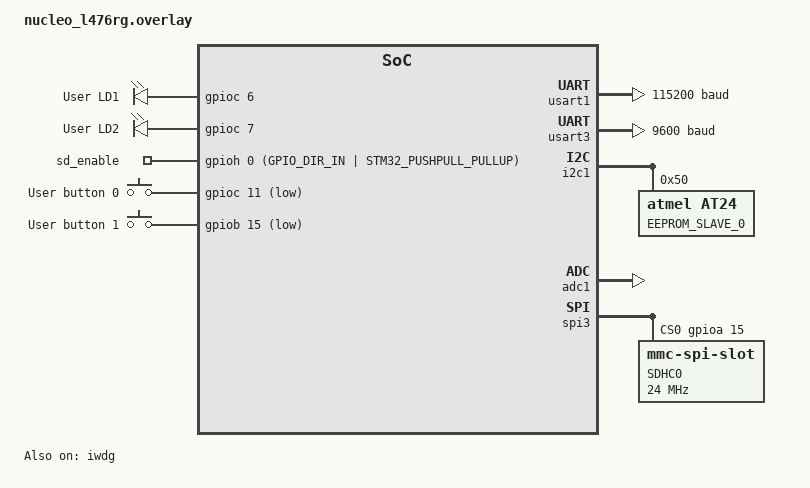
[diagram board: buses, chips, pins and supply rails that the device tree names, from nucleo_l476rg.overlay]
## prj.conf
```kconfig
# disable assertion in production

CONFIG_LORA=y
CONFIG_LORA_IM881A=y
CONFIG_UART_INTERRUPT_DRIVEN=y

CONFIG_SHELL=y
CONFIG_SHELL_LOG_BACKEND=y
CONFIG_KERNEL_SHELL=y
CONFIG_DEVICE_SHELL=y
CONFIG_SHELL_BACKEND_SERIAL=y
CONFIG_OBJECT_TRACING=y
CONFIG_THREAD_MONITOR=y
CONFIG_INIT_STACKS=y
CONFIG_BOOT_BANNER=y
CONFIG_PERFORMANCE_METRICS=y
CONFIG_BOOT_TIME_MEASUREMENT=y
CONFIG_THREAD_NAME=y
CONFIG_LOG=y
CONFIG_LOG_DEFAULT_LEVEL=3
CONFIG_SHELL_HISTORY=y
CONFIG_SHELL_STACK_SIZE=1024
CONFIG_SHELL_CMD_BUFF_SIZE=128
CONFIG_SHELL_WILDCARD=n
CONFIG_SHELL_VT100_COLORS=y
CONFIG_SHELL_HELP_ON_WRONG_ARGUMENT_COUNT=y
CONFIG_SHELL_STATS=y
CONFIG_SHELL_CMDS=y
#CONFIG_SYS_POWER_LOW_POWER_STATE=y
#CONFIG_SYS_POWER_DEEP_SLEEP=y
CONFIG_DEVICE_POWER_MANAGEMENT=y
CONFIG_SYS_POWER_MANAGEMENT=y
#CONFIG_SYS_POWER_LOW_POWER_STATES=y
CONFIG_TICKLESS_IDLE=y
CONFIG_TICKLESS_IDLE_THRESH=1
CONFIG_COUNTER=y
CONFIG_STACK_SENTINEL=y
```

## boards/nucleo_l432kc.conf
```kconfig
CONFIG_POLL=y
CONFIG_SPI=y

CONFIG_OPENOCD_SUPPORT=y

CONFIG_SERIAL=y
CONFIG_UART_STM32=y
CONFIG_UART_1=y

CONFIG_LORA_IM881A_UART_DRV_NAME="UART_1"

CONFIG_PWM=n
CONFIG_CLOCK_STM32_SYSCLK_SRC_MSI=y
CONFIG_CLOCK_STM32_MSI_RANGE=7
CONFIG_CLOCK_STM32_SYSCLK_SRC_PLL=n
CONFIG_CLOCK_STM32_PLL_SRC_HSI=n
#CONFIG_CLOCK_STM32_PLL_M_DIVISOR=n
CONFIG_SYS_CLOCK_HW_CYCLES_PER_SEC=8000000
#CONFIG_SYS_POWER_LOW_POWER_STATES=y
CONFIG_SYS_POWER_DEEP_SLEEP_STATES=y
CONFIG_SYS_POWER_MANAGEMENT=y
#CONFIG_COUNTER_RTC_STM32_CLOCK_LSE=y
```

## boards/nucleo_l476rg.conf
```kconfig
CONFIG_POLL=y

CONFIG_OPENOCD_SUPPORT=y

CONFIG_SERIAL=y
CONFIG_UART_STM32=y
CONFIG_UART_1=y
CONFIG_UART_2=y
CONFIG_UART_3=y
CONFIG_LORA_IM881A_UART_DRV_NAME="UART_1"

CONFIG_I2C=y
CONFIG_I2C_GPIO=y
CONFIG_I2C_0=y
CONFIG_I2C_GPIO_0=y
CONFIG_I2C_GPIO_0_GPIO="GPIOB"
CONFIG_I2C_GPIO_0_SCL_PIN=6
CONFIG_I2C_GPIO_0_SDA_PIN=7

CONFIG_ADC=y
CONFIG_ADC_STM32=y
CONFIG_WDT_LOG_LEVEL_DBG=y
CONFIG_WATCHDOG=y

CONFIG_PWM=n
CONFIG_CLOCK_STM32_SYSCLK_SRC_MSI=y
CONFIG_CLOCK_STM32_MSI_RANGE=8
CONFIG_CLOCK_STM32_SYSCLK_SRC_PLL=n
CONFIG_CLOCK_STM32_PLL_SRC_HSI=n
#CONFIG_CLOCK_STM32_PLL_M_DIVISOR=n
CONFIG_SYS_CLOCK_HW_CYCLES_PER_SEC=16000000
#CONFIG_SYS_POWER_LOW_POWER_STATES=y
CONFIG_SYS_POWER_DEEP_SLEEP_STATES=y
CONFIG_SYS_POWER_MANAGEMENT=n
#CONFIG_COUNTER_RTC_STM32_CLOCK_LSE=y

CONFIG_ISR_STACK_SIZE=4096
CONFIG_PRIVILEGED_STACK_SIZE=2048
CONFIG_MAIN_STACK_SIZE=2048
CONFIG_IDLE_STACK_SIZE=2048
CONFIG_SYSTEM_WORKQUEUE_STACK_SIZE=2048
CONFIG_OFFLOAD_WORKQUEUE_STACK_SIZE=2048
CONFIG_LOG_PROCESS_THREAD_STACK_SIZE=2048
CONFIG_SHELL_STACK_SIZE=2048

CONFIG_DISK_ACCESS=y
CONFIG_DISK_ACCESS_SDHC=y
#CONFIG_DISK_LOG_LEVEL_DBG=y
CONFIG_SPI=y
CONFIG_SPI_3=y
CONFIG_DISK_SDHC_VOLUME_NAME="SD"
CONFIG_FILE_SYSTEM=y
CONFIG_FAT_FILESYSTEM_ELM=y
#CONFIG_SPI_LOG_LEVEL_DBG=y
CONFIG_LOG_STRDUP_BUF_COUNT=20
```

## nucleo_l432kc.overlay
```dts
/*
 * Copyright (c) 2018 Nordic Semiconductor ASA
 *
 * SPDX-License-Identifier: Apache-2.0
 */

 &usart1 {
 	current-speed = <115200>;
 	pinctrl-0 = <&usart1_pins_b>;
 	pinctrl-names = "default";
    status = "ok";
 };
 &adc1 {
 	status = "ok";
 };
```

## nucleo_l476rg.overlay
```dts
/*
* Copyright (c) 2018 Nordic Semiconductor ASA
*
* SPDX-License-Identifier: Apache-2.0
*/

&usart1 {
	current-speed = <115200>;
	pinctrl-0 = <&usart1_pins_b>;
	pinctrl-names = "default";
	status = "ok";
};

&usart3 {
   current-speed = <9600>;
   pinctrl-0 = <&usart3_pins_b>;
   pinctrl-names = "default";
   status = "ok";
};

&i2c1 {
	eeprom@50 {
		compatible = "atmel,at24";
		reg = <0x50>;
		label = "EEPROM_SLAVE_0";
		size = <1>;
	};
};

&adc1 {
	status = "ok";
};

&iwdg {
	status = "ok";
};

&spi3 {
        status = "ok";
        cs-gpios = <&gpioa 15 0>;

        sdhc0: sdhc@0 {
                compatible = "zephyr,mmc-spi-slot";
                reg = <0>;
                status = "ok";
                label = "SDHC0";
                spi-max-frequency = <24000000>;
        };
};

/ {
	leds {
		compatible = "gpio-leds";
		green_led_1: led_1 {
			gpios = <&gpioc 6 GPIO_INT_ACTIVE_HIGH>;
			label = "User LD1";
		};
		red_led_2: led_2 {
			gpios = <&gpioc 7 GPIO_INT_ACTIVE_HIGH>;
			label = "User LD2";
		};

		sd_enable: led_3 {
			gpios = <&gpioh 0 (GPIO_DIR_IN | STM32_PUSHPULL_PULLUP)>;
			label = "sd_enable";
		};
	};

	gpio_keys {
		compatible = "gpio-keys";
		user_button0: button0 {
			label = "User button 0";
			gpios = <&gpioc 11 GPIO_INT_ACTIVE_LOW>;
		};
        user_button1: button1 {
			label = "User button 1";
			gpios = <&gpiob 15 GPIO_INT_ACTIVE_LOW>;
		};
	};

	aliases {
		led0 = &green_led_1;
        led1 = &red_led_2;
		sw0 = &user_button0;
        sw1 = &user_button1;
	};
};
```

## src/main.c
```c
/**
 * \brief main
 * SPDX-License-Identifier: Apache-2.0
 */

#include <zephyr.h>
#include "shell_lora.h"
#include <kernel.h>
#include <device.h>
#include "stm32_lp.h"

#include <string.h>

#include "lora.h"
#include "gps.h"
#include "saved_config.h"
#include "global.h"
#include <sensor.h>
#include "app_adc.h"
#include "app_rtc.h"
#include "buttons.h"
#include <wimod_lorawan_api.h>
#include "datalogger.h"

struct global_t global =
{
	.lora_TokenReq	= 0,
	.sleep_prevent	= 0,
	.sleep_permit	= 0,
	.config_changed	= 0,
	.led0			=
	{
		.t_on_ms = 3,
		.t_off_ms = 997,
	},
	.led1			=
	{
		.t_on_ms = 3,
		.t_off_ms = 330,
	},
};

#include <logging/log.h>
LOG_MODULE_REGISTER(main, LOG_LEVEL_INF);

#if CONFIG_LORA_IM881A
#include <im881a.h>
#endif

#include <device.h>
#include <gpio.h>
#include <crc.h>

static struct device *led0_dev;
static struct device *led1_dev;

static void leds_init(void)
{
	led0_dev = device_get_binding(LED0_GPIO_CONTROLLER);
	led1_dev = device_get_binding(LED1_GPIO_CONTROLLER);
	gpio_pin_configure(led0_dev, LED0_GPIO_PIN, GPIO_DIR_OUT);
	gpio_pin_configure(led1_dev, LED1_GPIO_PIN, GPIO_DIR_OUT);

	gpio_pin_write(led0_dev, LED0_GPIO_PIN, 0);
	gpio_pin_write(led1_dev, LED1_GPIO_PIN, 0);
}

static void led0_set(uint32_t value)
{
	gpio_pin_write(led0_dev, LED0_GPIO_PIN, value);
}

static void led1_set(uint32_t value)
{
	gpio_pin_write(led1_dev, LED1_GPIO_PIN, value);
}

#include <kernel.h>
#include <arch/cpu.h>
#include <misc/__assert.h>
#include <soc.h>
#include <init.h>
#include <uart.h>
#include <clock_control.h>

struct periodic_timer_t
{
	const char *name;
	uint32_t next;
	uint32_t period;
	uint32_t enable;
	uint32_t configured;
};

static uint32_t expired(const struct periodic_timer_t *t, uint32_t now)
{
	int32_t delta = (t->next - now);

	if (t->enable && t->configured)
	{
		//LOG_DBG("timer:%s now:%"PRIu32" next:%"PRIu32" delta:%"PRId32, t->name, now, t->next, delta);
	}

	return (delta <= 0) && t->enable && t->configured;
}

static uint32_t expiry(const struct periodic_timer_t *t, uint32_t now)
{
	int32_t delta = (t->next - now);

	if (!t->enable)
	{
		return INT32_MAX;
	}

	if (expired(t, now))
	{
		return 0;
	}

	return delta;
}

static uint32_t next_timer_value(uint32_t now, uint32_t period, uint32_t pr)
{
	return (((now / period) + 1) * period) + (pr % period);
}

static uint32_t expired_restart_psnr(struct periodic_timer_t *t, uint32_t now, uint32_t pr)
{
	uint32_t ex = 0;

	if (expired(t, now))
	{
		ex = 1;
	}

	if (ex == 1 || (t->enable && t->configured == 0))
	{
		t->next = next_timer_value(now, t->period, pr);
		int32_t delta = (t->next - now);
		LOG_DBG("%s next:%"PRIu32" delta:%"PRId32, t->name, t->next, delta);
		t->configured = 1;
	}

	return ex;
}

static uint32_t expired_restart(struct periodic_timer_t *t, uint32_t now)
{
	return expired_restart_psnr(t, now, 0);
}

static struct periodic_timer_t measure_timer_a =
{
	.name = "measure_timer_a",
	.next = 0,
	.period = 5*60,
	.enable = 1,
};

static struct periodic_timer_t measure_timer_b =
{
	.name = "measure_timer_b",
	.next = 0,
	.period = 10*60,
	.enable = 1,
};

static struct periodic_timer_t tx_timer_a =
{
	.name = "tx_timer_a",
	.next = 0,
	.period = 15*60,
	.enable = 1,
};

static struct periodic_timer_t tx_timer_b =
{
	.name = "tx_timer_b",
	.next = 0,
	.period = 15*60,
	.enable = 1,
};

static struct periodic_timer_t sync_timer =
{
	.name = "sync_timer",
	.next = 0,
	.period = 6*60*60,
	.enable = 1,
};

static struct periodic_timer_t charge_timer =
{
	.name = "charge_timer",
	.next = 0,
	.period = 10*60,
	.enable = 1,
};

static struct periodic_timer_t info_timer =
{
	.name = "info_timer",
	.next = 0,
	.period = 60*60,
	.enable = 1,
};

struct periodic_timer_t *timers[] =
{
	&measure_timer_a,
	&measure_timer_b,
	&tx_timer_a,
	&tx_timer_b,
	&charge_timer,
	&sync_timer,
	&info_timer,
};

static uint32_t expiry_min(struct periodic_timer_t **ts, size_t nr, uint32_t now)
{
	uint32_t min = INT32_MAX;

	for (int i = 0 ; i < nr ; i++)
	{
		uint32_t ex = expiry(ts[i], now);

		if (ex < min)
		{
			min = ex;
		}
	}

	return min;
}

static void init_timer(struct periodic_timer_t *m, struct periodic_timer_t *t, const struct sensor_config_t *c)
{
	m->enable = c->enable;
	m->period = c->period;
	m->configured = 0;
	t->enable = c->enable;
	t->period = c->period*c->tx_period;
	t->configured = 0;
}

static void init_from_config(const struct saved_config_t *c)
{
	init_timer(&measure_timer_a, &tx_timer_a, &c->sensor_config[0]);
	init_timer(&measure_timer_b, &tx_timer_b, &c->sensor_config[1]);
}

static void all_timers_now(uint32_t now)
{
	for (size_t i = 0 ; i < ARRAY_SIZE(timers);i++)
	{
		if (timers[i]->enable)
		{
			timers[i]->next = now + 10;
			timers[i]->configured = 1;
		}
	}
}

static void timers_info(uint32_t now)
{
	LOG_DBG("now:%"PRIu32, now);
	for (size_t i = 0 ; i < ARRAY_SIZE(timers);i++)
	{
		const struct periodic_timer_t *t = timers[i];
		if (!t->enable)
		{
			LOG_DBG("%s:disable", t->name);
		}
		else if (t->configured)
		{
			LOG_DBG("%s:period:%"PRIu32", expiry:%"PRIu32, t->name, t->period, expiry(t, now));
		}
		else
		{
			LOG_DBG("%s:period:%"PRIu32", expiry:(not configued)", t->name, t->period);
		}
	}
}

static uint32_t prng(uint32_t next, const uint8_t *devaddr, size_t size)
{
	u8_t data[sizeof(next)+size];
	memcpy(&data[0], devaddr, size);
	memcpy(&data[size], &next, sizeof(next));
	return crc32_ieee(data, sizeof(data));
}

static int measure_immediate(const struct sensor_config_t *c, uint32_t *value, uint32_t nr)
{
	switch((enum mode_e)c->mode)
	{
		case MODE_0_10V:
			*value = adc_measure_sensor(nr)*100/18;
			LOG_DBG("measure ch%"PRIu32" : %"PRIu32" mV", nr, *value);
			return 0;
		break;

		default:
		LOG_ERR("not yet implemented : sensor_config->mode : %"PRIu8, c->mode);
		return -ENOTSUP;
	}
}

static int measure(const struct sensor_config_t *c, uint32_t *value, uint32_t nr)
{
	int ret = 0;
	*value = UINT32_MAX;

	switch((enum psu_e)c->psu)
	{
		case PSU_5V:
			LOG_DBG("measure using PSU_5V");
			psu_5v(1);
		break;

		case PSU_INDUS:
			LOG_DBG("measure using PSU_INDUS");
			psu_ind(1);
		break;

		case PSU_NONE:
			LOG_DBG("measure without PSU");
		default:
			LOG_DBG("c->psu invalid");
			ret = -ENOTSUP;
	}

	LOG_DBG("wait %"PRIu32" ms", c->wakeup_ms);
	k_sleep(c->wakeup_ms);

	ret = measure_immediate(c, value, nr);

	switch((enum psu_e)c->psu)
	{
		case PSU_5V:
			psu_5v(0);
		break;

		case PSU_INDUS:
			psu_ind(0);
		break;

		case PSU_NONE:
		default:
		break;
	}

	return ret;
}

static uint32_t tick(uint32_t now)
{
	/* FIXME : wait for end of TX, or schedule TX far appart */
	uint32_t RADIO_TIMEOUT = (10*1000);
	u8_t devaddr[6] = {1,2,3,4,5,6}; // FIMXE
	int ret;
	uint32_t value0;
	uint32_t value1;

	if (!global.debug_measure)
	{

		if (expired_restart(&measure_timer_a, now))
		{
			ret = measure(&global.config.sensor_config[0], &value0, 0);
			LOG_INF("measure:channel a : %"PRIu32" mV", value0);
		}

		if (expired_restart(&measure_timer_b, now))
		{
			ret = measure(&global.config.sensor_config[1], &value1, 1);
			LOG_INF("measure:channel b : %"PRIu32" mV", value1);
		}

		if (expired_restart_psnr(&tx_timer_a, now, prng(tx_timer_a.next, devaddr, sizeof(devaddr))))
		{
			LOG_INF("lora:send channel a : %"PRIu32" mV", value0);
			struct lw_tx_result_t txr;
			wimod_lorawan_send_u_radio_data(1, &value0, sizeof(value0), &txr);
			k_sleep(RADIO_TIMEOUT);
		}

		if (expired_restart_psnr(&tx_timer_b, now, prng(tx_timer_b.next, devaddr, sizeof(devaddr))))
		{
			LOG_INF("lora:send channel b : %"PRIu32" mV", value1);
			struct lw_tx_result_t txr;
			wimod_lorawan_send_u_radio_data(2, &value1, sizeof(value1), &txr);
			k_sleep(RADIO_TIMEOUT);
		}
	}

	if (expired_restart_psnr(&sync_timer, now, prng(sync_timer.next, devaddr, sizeof(devaddr))))
	{
		LOG_INF("lora:request time");
		lora_time_AppTimeReq(0);
		k_sleep(RADIO_TIMEOUT);
	}

	if (expired_restart(&charge_timer, now))
	{
		LOG_INF("battery:%"PRIu16" mV", adc_measure_vbat());
		if (1 /* FIXME : measure battery temperature, disable when < 0°C */)
		{
			psu_charge(1);
		}
		else
		{
			psu_charge(0);
		}
	}

	if (expired_restart_psnr(&info_timer, now, prng(info_timer.next, devaddr, sizeof(devaddr))))
	{
		LOG_INF("lora:send info");
		lora_send_info();
		k_sleep(RADIO_TIMEOUT);
	}
	uint32_t sleep = expiry_min(timers, ARRAY_SIZE(timers), now);

	return sleep;
}
#define STACKSIZE 1024

void led0_thread(void *u1, void *u2, void *u3)
{
	ARG_UNUSED(u1);
	ARG_UNUSED(u2);
	ARG_UNUSED(u3);

	for(;;)
	{
		if (global.led0.t_on_ms)
		{
			led0_set(1);
			k_sleep(global.led0.t_on_ms);
		}
		led0_set(0);
		k_sleep(global.led0.t_off_ms);
	}
}

void led1_thread(void *u1, void *u2, void *u3)
{
	ARG_UNUSED(u1);
	ARG_UNUSED(u2);
	ARG_UNUSED(u3);

	for(;;)
	{
		if (global.led1.t_on_ms)
		{
			led1_set(1);
			k_sleep(global.led1.t_on_ms);
		}
		led1_set(0);
		k_sleep(global.led1.t_off_ms);
	}
}

static K_THREAD_DEFINE(led0_thread_id, STACKSIZE, led0_thread, NULL, NULL,
	NULL, 2, 0, K_FOREVER);
static K_THREAD_DEFINE(led1_thread_id, STACKSIZE, led1_thread, NULL, NULL,
	NULL, 2, 0, K_FOREVER);

static void datalogger_loop(uint32_t delay_ms)
{
		uint32_t count = 0;
	s64_t last = k_uptime_get();
	k_thread_abort(led0_thread_id);
	k_thread_abort(led1_thread_id);
	led0_set(1);
	psu_ind(1);
	lora_off();

	for (;;)
	{
		uint32_t value[2];

		led1_set(0);
		s64_t reftime;
		do
		{
			k_sleep(1);
			reftime = last;
		} while (k_uptime_delta(&reftime) < delay_ms);
		last += delay_ms;
		led1_set(1);

		for (size_t i = 0; i < 2 ; i++)
		{
			int ret;
			ret = measure_immediate(&global.config.sensor_config[i], &value[i], i);
			if (ret)
			{
				LOG_ERR("measure failed on %zu", i);
			}
		}
		LOG_INF("measure in0: %"PRIu32" mv in1: %"PRIu32, value[0], value[1]);
		datalogger_nprintf(50, "%"PRIu32",%"PRIu32"\n", value[0], value[1]);

		if ((count++ % 30) == 0)
		{
			LOG_INF("datalogger sync");
			datalogger_sync();
		}
	}
}

#define BATTERY_LOW_LIMIT_MV 2800

/**
 * \brief wait until batteries charged enough
 *
 * There is a blackout risk if we use too much current (radio, ...) and the
 * batteries are discharged. This will can prevent the charge since the
 * charge_enable pin is driven by the cpu. So just sleep until there is
 * enough power in the batteries.
 */
static void wait_vbat_ready(void)
{
	do
	{
		uint16_t mv = adc_measure_vbat();
		if (mv > BATTERY_LOW_LIMIT_MV)
		{
			break;
		}
		LOG_WRN("battery < %"PRIu16", sleeping", mv);
		k_sleep(1000);
		stm32_sleep(59*1000);
	}
	while (1);
}

void app_main(void *u1, void *u2, void *u3)
{
	ARG_UNUSED(u1);
	ARG_UNUSED(u2);
	ARG_UNUSED(u3);

	int ret;

	lp_init();
	gps_off();
	lora_off();
	lp_sleep_prevent();
	leds_init();

	k_thread_start(led0_thread_id);
	k_thread_suspend(led0_thread_id);
	k_thread_start(led1_thread_id);
	k_thread_suspend(led1_thread_id);
	led0_set(0);
	led1_set(0);

	psu_5v(0);
	psu_ind(0);
	psu_cpu_hp(0);
	saved_config_init();
	saved_config_read(&global.config);
	app_rtc_init();
	init_from_config(&global.config);
	all_timers_now(app_rtc_get());

	//gps_init();

	adc_init();
	psu_charge(1);
	wait_vbat_ready();

	/**
	 * Detect the SD card, if it is inserted, switch to datalogger mode
	 */
	// FIXME : this one crashes the main thread when the clock is 80MHz and
	// not crashing at 8 or 16 MHz, problem in stm32_lp.c ?  !?!
	if (1)
	{
		psu_cpu_hp(1);	// The SD needs 3.0V
		LOG_WRN("Searching for SD card...");
		ret = datalogger_init();
		if (ret == 0)
		{
			LOG_INF("datalogger mode");
			datalogger_loop(1000);
		}
		psu_cpu_hp(0);
	}

	lora_init();
	buttons_init();

	uint32_t sleep_prevent_duration = 0;
	uint32_t sleep_seconds = 0;

	if (0) for (;;)
	{
		LOG_WRN("device in DO NOTHING mode");
		k_sleep(5*1000);
	}

	for (;;)
	{
		uint32_t now = app_rtc_get();

		if (!sleep_prevent_duration)
		{
			// We just wakeup from sleep, say hello
			LOG_INF("now:%"PRIu32, now);
		}

		/*
		 * Manage configuration/time changes
		 */

		if (global.sleep_prevent == 1)
		{
			LOG_INF("wakeup!");
			global.sleep_prevent = 0;
			sleep_prevent_duration = 30;
			k_thread_resume(led0_thread_id);
		}

		if (global.sleep_permit == 1)
		{
			global.sleep_permit = 0;
			sleep_prevent_duration = 0;
		}

		if (global.tx_now == 1)
		{
			LOG_INF("tx now!");
			global.tx_now = 0;
			all_timers_now(app_rtc_get());
		}

		if (global.config_changed == 1)
		{
			LOG_INF("config_changed");
			global.config_changed = 0;
			global.debug_measure = 0;
			saved_config_save(&global.config);
			init_from_config(&global.config);
			lora_send_info();
		}

		if (global.lora_time_changed == 1)
		{
			global.lora_time_changed = 0;
			app_rtc_set(app_rtc_get() + global.lora_time_delta);
		}

		if (global.rtc_reset == 1)
		{
			global.rtc_reset = 0;
			init_from_config(&global.config);
			all_timers_now(app_rtc_get());
		}

		if (global.debug_measure)
		{
			/**
			 * The shell has requested measuring to shell
			 */
			uint32_t value[2];

			sleep_prevent_duration = 4;

			for (size_t i = 0; i < 2 ; i++)
			{

				int ret;
				ret = measure_immediate(&global.config.sensor_config[i], &value[i], i);
				if (ret)
				{
					LOG_ERR("measure failed on %zu", i);
				}
			}

			LOG_INF("measure in0: %"PRIu32" mv in1: %"PRIu32, value[0], value[1]);
			k_sleep(K_SECONDS(1));
		}

		k_thread_resume(led1_thread_id);
		sleep_seconds = tick(now);
		k_thread_suspend(led1_thread_id);
		led1_set(0);

		if (sleep_prevent_duration > 0)
		{
			if (sleep_prevent_duration % 5 == 0)
			{
				timers_info(now);
				LOG_DBG("sleep_prevent_duration : %"PRIu32" seconds", sleep_prevent_duration);
			}

			if (sleep_prevent_duration == 5)
			{
				LOG_DBG("sleep : %"PRIu32" seconds", sleep_seconds);
			}
			k_sleep(K_SECONDS(1));
			sleep_prevent_duration--;
		}
		else
		{
			k_thread_suspend(led0_thread_id);
			led0_set(0);
			led1_set(0);
			if (sleep_seconds)
			{
				stm32_sleep(1000*sleep_seconds);
			}
		}
	}
}

K_THREAD_DEFINE(app_main_id, 2*STACKSIZE, app_main, NULL, NULL,
		NULL, 3, 0, K_NO_WAIT);
```

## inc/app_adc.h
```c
#ifndef APP_ADC_H
#define APP_ADC_H

#include <stdint.h>

#ifdef __cplusplus
extern "C"
{
#endif

/**
 * \brief Initialize the ADC and related pins
 */
void adc_init(void);

/**
 * \brief measure all (connected) ADC inputs and print results to the logger.
 */
void adc_test(void);

/**
 * \brief measure the battery voltage on the VBAT pin
 *
 * \return the value in mV.
 */
uint16_t adc_measure_vbat(void);

/**
 * \brief measure the battery charger power input (solar panel)
 *
 * \return the value in mV.
 */
uint16_t adc_measure_charger(void);

/**
 * \brief measure the analog inputs
 * \param sensor, 0 for sensor 0, 1 for sensor 1
 *
 * \warning this is the raw value on the pin (no divider taken into account)
 *
 * \return the value in mV
 */
uint16_t adc_measure_sensor(uint32_t sensor);

/**
 * \brief measure the processor temperature
 *
 * \return the value in tenth of °C.
 */
int16_t adc_measure_temp(void);

#ifdef __cplusplus
}
#endif

#endif /* APP_ADC_H */
```

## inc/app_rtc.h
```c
#ifndef APP_RTC_H
#define APP_RTC_H

#ifdef __cplusplus
extern "C"
{
#endif

/**
 * \brief Initialize the RTC
 */
int app_rtc_init(void);

/**
 * \brief Get the RTC time (time since unix epoch, UTC)
 */
uint32_t app_rtc_get(void);

/**
 * \brief Set the RTC time (time since unix epoch, UTC)
 */
void app_rtc_set(uint32_t now);

/**
 * \brief Guess if the RTC has been initialized (or a power lost has occured)
 */
int app_rtc_ok(void);

#ifdef __cplusplus
}
#endif

#endif /* APP_RTC_H */
```

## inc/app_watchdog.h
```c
#ifndef APP_WATCHDOG_H
#define APP_WATCHDOG_H

#include <stdint.h>

#ifdef __cplusplus
extern "C"
{
#endif

int watchdog_init(uint32_t timeout_s);
void watchdog_feed(void);

#ifdef __cplusplus
}
#endif

#endif /* APP_WATCHDOG_H */
```

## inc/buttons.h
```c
#ifndef BUTTONS_H
#define BUTTONS_H

#include <stdint.h>

#ifdef __cplusplus
extern "C"
{
#endif

/**
 * \brief Initialize the buttons
 *
 * button1 will trigger a measure and will send result trought the radio
 * buttio2 will enable the console for 60 seconds.
 */
void buttons_init(void);

void uart_wakeup_enable(void);
void uart_wakeup_disable(void);

#ifdef __cplusplus
}
#endif

#endif /* BUTTONS_H */
```

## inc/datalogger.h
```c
#ifndef DATALOGGER_H
#define DATALOGGER_H

#ifdef __cplusplus
extern "C"
{
#endif

/**
 * \brief Initialize the datalogger
 */
int datalogger_init(void);

/**
 * \brief nprintf like datalogger
 */
int datalogger_nprintf(size_t n, const char *fmt, ...);

/**
 * \brief Force sync
 *
 * Maybe a good idea before sleeping.
 */
int datalogger_sync(void);

/**
 * \brief Close the current file
 */
int datalogger_close(void);

#ifdef __cplusplus
}
#endif

#endif /* DATALOGGER_H */
```

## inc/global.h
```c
/*************************************************************************//**
 * \file gloabl.h
 * \brief board include selection
 *
 * \author Marc Pignat
 * \copyright Copyright (c) 2019 Marc Pignat
 *
 **************************************************************************//*
 * SPDX-License-Identifier: Apache-2.0
 ****************************************************************************/

#ifndef GLOBAL_H
#define GLOBAL_H

#include "saved_config.h"

/**
 * \brief LED blink description
 */
struct led_t
{
	uint32_t t_on_ms;
	uint32_t t_off_ms;
};

/**
 * \brief Holds the global state of the application
 */
struct global_t
{
	/**
	 * LoRaWAN Application Layer Clock Synchronization token
	 */
	u8_t lora_TokenReq;

	/**
	 * sleep prevent flag, set by button interrupt
	 */
	volatile u32_t sleep_prevent;

	/**
	 * Transmit request flag, set by button interrupt
	 */
	volatile u32_t tx_now;

	/**
	 * sleep permit flag, set by the console
	 */
	volatile u32_t sleep_permit;

	/**
	 * In memory copy of the configuration variable stored in non-volatile
	 * memory.
	 */
	struct saved_config_t config;

	/**
	 * flag, when the the config must be stored to flash.
	 */
	volatile uint32_t config_changed;

	/**
	 * flag, set to inform the RTC has changed significantly (not just adjusted)
	 */
	volatile uint32_t rtc_reset;

	/**
	 * The value of the lora time delta
	 */
	volatile uint32_t lora_time_delta;

	/**
	 * flag, lora_time_delta is now valid
	 */
	volatile uint32_t lora_time_changed;

	/**
	 * flag, measure to the shell, not to the radio
	 */
	volatile uint32_t debug_measure;

	/**
	 * State of LED0
	 */
	struct led_t led0;

	/**
	 * State of LED1
	 */
	struct led_t led1;
};

#ifdef __cplusplus
extern "C"
{
#endif

extern struct global_t global;

#ifdef __cplusplus
}
#endif

#endif /* GLOBAL_H */
```

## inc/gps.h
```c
#ifndef GPS_H
#define GPS_H

#ifdef __cplusplus
extern "C"
{
#endif

/**
 * \brief Initialize GPS
 */
void gps_init(void);

/**
 * \brief Turn gps off (including RX/TX/PPS pins)
 */
void gps_off(void);

#ifdef __cplusplus
}
#endif

#endif /* GPS_H */
```

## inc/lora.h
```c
#ifndef _LORA_H
#define _LORA_H

#include <stdint.h>

#ifdef __cplusplus
extern "C"
{
#endif

/**
 * \brief Initialize the radio module
 *
 * \return 0 on success
 *
 * There is no need to call lora_on() before lora_init().
 */
int lora_init(void);

/**
 * \brief Turn the lora radio module OFF (including RX/TX pins)
 * \warning untested in production (can be impossible to turn back on)
 */
void lora_off(void);

/**
 * \brief Turn the lora radio module ON
 * \warning untested in production (can be impossible to turn back on)
 */
void lora_on(void);

/**
 * \brief Request the current time on the LoRaWAN network.
 *
 * \param AnsRequired 0 if no answer is necessary
 */
void lora_time_AppTimeReq(uint8_t AnsRequired);

/**
 * \brief Send general info the network
 */
void lora_send_info(void);

/**
 * \brief Converts network state to string
 *
 * \param network state
 *
 * \return a string describing the network state
 */
const char *nws2str(uint8_t state);


#ifdef __cplusplus
}
#endif

#endif /* _LORA_H */
```

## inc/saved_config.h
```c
#ifndef SAVED_CONFIG_H
#define SAVED_CONFIG_H

/**
 * \brief Configuration saved in non-volatile memory
 */

#include <stdint.h>

#ifdef __cplusplus
extern "C"
{
#endif

enum psu_e
{
	PSU_NONE	= 0x00,
	PSU_5V		= 0x01,
	PSU_INDUS	= 0x02,
};

enum mode_e
{
	MODE_0_10V		= 0x00,
	MODE_4_20MA		= 0x01,
	MODE_DIGITAL	= 0x02,
	MODE_I2C		= 0x03,
};

enum tx_mode_e
{
	TX_MODE_LAST	= 0x00,
	TX_MODE_MEAN	= 0x01,
	TX_MODE_MAX		= 0x02,
	TX_MODE_MIN		= 0x03,
};

struct sensor_config_t
{
	uint8_t enable;
	uint8_t psu;
	uint8_t mode;
	uint8_t tx_mode;
	uint32_t period;
	uint32_t wakeup_ms;
	uint8_t tx_period;
};

struct saved_config_t
{
	uint32_t version;
	uint32_t boot_count;
	uint32_t changes;
	struct sensor_config_t sensor_config[2];
	uint32_t rtc_offset;
	uint8_t _reserved[2*64-(20+2*sizeof(struct sensor_config_t))];
	uint32_t crc;
};

void saved_config_init(void);

int saved_config_read(struct saved_config_t *config);
int saved_config_save(struct saved_config_t *config);

enum saved_config_predef_e
{
	SC_DEFAULT_OFF	= 0x00,
	SC_DEFAULT_INDUS_1	= 0x01,
	SC_DEFAULT_INDUS_2	= 0x02,
	SC_DEFAULT_INDUS_1_FAST	= 0x03,
	SC_DEFAULT_INDUS_2_FAST	= 0x04,
	SC_DEFAULT_INDUS_1_MID	= 0x05,
	SC_DEFAULT_INDUS_2_MID	= 0x06,
};

void saved_config_predef(struct saved_config_t *config, enum saved_config_predef_e pre);

#ifdef __cplusplus
}
#endif

#endif /* SAVED_CONFIG_H */
```

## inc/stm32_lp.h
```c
#ifndef STM32_LP_H
#define STM32_LP_H

#ifdef __cplusplus
extern "C"
{
#endif

/**
 * \brief Sleep (power down) this time
 *
 * \param duration sleep time in seconds
 *
 * Wake up by RTC or by buttons interrupt.
 *
 * \warning The kernel is stopped (k_cycle_get_32, k_uptime_get, ... are not
 * updated while sleeping).
 *
 */
void stm32_sleep(u32_t duration);

/**
 * \brief Disable debug pins (SWD)
 */
void stm32_swd_off(void);

/**
 * \brief Enable debug pins (SWD)
 */
void stm32_swd_on(void);

/**
 * \brief Control the 5V power supply
 *
 * \param enable zero for disable, enable otherwise
 */
void psu_5v(u32_t enable);

/**
 * \brief Control the industrial power supply
 *
 * \param enable zero for disable, enable otherwise
 */
void psu_ind(u32_t enable);

/**
 * \brief Enable the battery charger
 *
 * \param enable zero for disable, enable otherwise
 *
 * \warning Charging must not be enabled when the battery temperature is below
 * 0°C.
 */
void psu_charge(u32_t enable);

/**
 * \brief Control the CPU power supply
 *
 * \param 0 : regulated 1.8V, other values : unregulated direct battery.
 */
void psu_cpu_hp(u32_t enable);

/**
 * \brief Initialize low power
 *
 * Initialize all pins to consume less.
 */
void lp_init(void);

/**
 * \brief Prevent sleep (let the console running on the UART)
 */
void lp_sleep_prevent(void);

/**
 * \brief Allow sleep (this will prevent using the console on the UART)
 */
void lp_sleep_permit(void);

#ifdef __cplusplus
}
#endif

#endif /* STM32_LP_H */
```

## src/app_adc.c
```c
#include <adc.h>
#include <zephyr.h>
#include <misc/printk.h>
#include <pinmux/stm32/pinmux_stm32.h>
#include <soc.h>
#include <gpio.h>

#include <logging/log.h>
LOG_MODULE_REGISTER(adc, LOG_LEVEL_INF);

#include "app_adc.h"
uint16_t _adc_data[1];

enum adc_input_e
{
	ADC_INPUT_VREF_INT	= 0,
	ADC_INPUT_UNUSED	= 1,
	ADC_INPUT_SENSOR_0	= 2,
	ADC_INPUT_SENSOR_1	= 3,
	ADC_INPUT_CHARGER	= 4,
	ADC_INPUT_VBAT		= 5,
	ADC_INPUT_TEMP		= 6,
};

static const struct adc_channel_cfg channel_cfg[] =
{
	[ADC_INPUT_VREF_INT] =
	{
		.gain				= ADC_GAIN_1,
		.reference			= ADC_REF_INTERNAL,
		.acquisition_time	= ADC_ACQ_TIME(ADC_ACQ_TIME_TICKS, 641),
		.channel_id	   		= 0,
		.differential		= 0,
	},
	[ADC_INPUT_UNUSED] =
	{
		.gain				= ADC_GAIN_1,
		.reference			= ADC_REF_INTERNAL,
		.acquisition_time	= ADC_ACQ_TIME(ADC_ACQ_TIME_TICKS, 641),
		.channel_id	   		= 1,
		.differential		= 0,
	},
	[ADC_INPUT_SENSOR_0] =
	{
		.gain				= ADC_GAIN_1,
		.reference			= ADC_REF_INTERNAL,
		.acquisition_time	= ADC_ACQ_TIME(ADC_ACQ_TIME_TICKS, 641),
		.channel_id	   		= 2,
		.differential		= 0,
	},
	[ADC_INPUT_SENSOR_1] =
	{
		.gain				= ADC_GAIN_1,
		.reference			= ADC_REF_INTERNAL,
		.acquisition_time	= ADC_ACQ_TIME(ADC_ACQ_TIME_TICKS, 641),
		.channel_id	   		= 3,
		.differential		= 0,
	},
	[ADC_INPUT_CHARGER] =
	{
		.gain				= ADC_GAIN_1,
		.reference			= ADC_REF_INTERNAL,
		.acquisition_time	= ADC_ACQ_TIME(ADC_ACQ_TIME_TICKS, 641),
		.channel_id	   		= 4,
		.differential		= 0,
	},
	[ADC_INPUT_VBAT] =
	{
		.gain				= ADC_GAIN_1,
		.reference			= ADC_REF_INTERNAL,
		.acquisition_time	= ADC_ACQ_TIME(ADC_ACQ_TIME_TICKS, 641),
		.channel_id	   		= 18,
		.differential		= 0,
	},
	[ADC_INPUT_TEMP] =
	{
		.gain				= ADC_GAIN_1,
		.reference			= ADC_REF_INTERNAL,
		.acquisition_time	= ADC_ACQ_TIME(ADC_ACQ_TIME_TICKS, 641),
		.channel_id	   		= 17,
		.differential		= 0,
	},
};

const struct adc_sequence sequence[] =
{
	[ADC_INPUT_VREF_INT] =
	{
		.channels	= BIT(0),
		.buffer	  = _adc_data,
		.buffer_size = sizeof(_adc_data),
		.resolution  = 12,
	},
	[ADC_INPUT_UNUSED] =
	{
		.channels	= BIT(1),
		.buffer	  = _adc_data,
		.buffer_size = sizeof(_adc_data),
		.resolution  = 12,
	},
	[ADC_INPUT_SENSOR_0] =
	{
		.channels	= BIT(2),
		.buffer	  = _adc_data,
		.buffer_size = sizeof(_adc_data),
		.resolution  = 12,
	},
	[ADC_INPUT_SENSOR_1] =
	{
		.channels	= BIT(3),
		.buffer	  = _adc_data,
		.buffer_size = sizeof(_adc_data),
		.resolution  = 12,
	},
	[ADC_INPUT_CHARGER] =
	{
		.channels	= BIT(4),
		.buffer	  = _adc_data,
		.buffer_size = sizeof(_adc_data),
		.resolution  = 12,
	},
	[ADC_INPUT_VBAT] =
	{
		.channels	= BIT(18),
		.buffer	  = _adc_data,
		.buffer_size = sizeof(_adc_data),
		.resolution  = 12,
	},
	[ADC_INPUT_TEMP] =
	{
		.channels	= BIT(17),
		.buffer	  = _adc_data,
		.buffer_size = sizeof(_adc_data),
		.resolution  = 12,
	},
};

static const struct pin_config pinconf[] =
{
	{STM32_PIN_PC0, STM32L4X_PINMUX_FUNC_PC0_ADC123_IN1},
	{STM32_PIN_PC1, STM32L4X_PINMUX_FUNC_PC1_ADC123_IN2},
	{STM32_PIN_PC2, STM32L4X_PINMUX_FUNC_PC2_ADC123_IN3},
	{STM32_PIN_PC3, STM32L4X_PINMUX_FUNC_PC3_ADC123_IN4},
};

static uint16_t vdda_mv(uint16_t data)
{
	return (uint32_t)3000*(*VREFINT_CAL_ADDR)/data;
}


/**
 * \brief Convert an AD convertsion result to milivolts
 *
 * \param ref, the ADC conversion result of VREFINT
 * \pram in, the ADC conversion result of the input
 *
 * \return the result in milivolts
 *
 * \see Chapter 18.4.34 in RM0351 for the computation.
 */
static uint16_t mes_mv(uint16_t ref, uint16_t in)
{
	uint64_t tmp;

	/*
	 * For maximum precision, all multipications are done before dividing.
	 */
	tmp = 3000;
	tmp *= (*VREFINT_CAL_ADDR);
	tmp *= in;

	tmp /= ref;
	tmp /= 4095;

	return tmp;
}

static struct device *adc_dev;

static uint16_t _adc_read(struct device *dev, enum adc_input_e input)
{
	adc_read(dev, &sequence[input]);
	k_busy_wait(1000);
	return _adc_data[0];
}

static uint16_t _mes(enum adc_input_e input)
{
	uint16_t reference;
	uint16_t in;

	reference = _adc_read(adc_dev, ADC_INPUT_VREF_INT);
	in = _adc_read(adc_dev, input);

	LOG_DBG("ref:%"PRIu16" in: %"PRIu16, reference, in);
	return mes_mv(reference, in);
}

static uint16_t mes(enum adc_input_e input)
{
	const uint8_t mean_nr = 8;
	uint32_t tmp = 0;

	for (int i = 0 ; i < mean_nr ; i++)
	{
		tmp += _mes(input);
	}

	return tmp / mean_nr;
}

uint16_t adc_measure_charger(void)
{
	uint16_t value = mes(ADC_INPUT_CHARGER)*21;
	LOG_DBG("adc_measure_charger:%"PRIu16" mV", value);

	return value;
}

static uint16_t adc_measure_sensor0(void)
{
	uint16_t value = mes(ADC_INPUT_SENSOR_0);
	LOG_DBG("adc_measure_sensor0:%"PRIu16" mV", value);
	return value;
}

static uint16_t adc_measure_sensor1(void)
{
	uint16_t value = mes(ADC_INPUT_SENSOR_1);
	LOG_DBG("adc_measure_sensor1:%"PRIu16" mV", value);
	return value;
}

uint16_t adc_measure_vbat(void)
{
	uint16_t value;
	LL_ADC_SetCommonPathInternalCh(__LL_ADC_COMMON_INSTANCE(), LL_ADC_PATH_INTERNAL_VREFINT | LL_ADC_PATH_INTERNAL_VBAT);
	value = mes(ADC_INPUT_VBAT)*3;
	LL_ADC_SetCommonPathInternalCh(__LL_ADC_COMMON_INSTANCE(), LL_ADC_PATH_INTERNAL_VREFINT);
	LOG_DBG("adc_measure_vbat:%"PRIu16" mV", value);
	return value;
}

// Adapted from __LL_ADC_CALC_TEMPERATURE to have decidegrees
#define calc_temp_x10(__VREFANALOG_VOLTAGE__,\
                                  __TEMPSENSOR_ADC_DATA__,\
                                  __ADC_RESOLUTION__)                              \
  (((( ((int32_t)((__LL_ADC_CONVERT_DATA_RESOLUTION((__TEMPSENSOR_ADC_DATA__),     \
                                                    (__ADC_RESOLUTION__),          \
                                                    LL_ADC_RESOLUTION_12B)         \
                   * (__VREFANALOG_VOLTAGE__))                                     \
                  / TEMPSENSOR_CAL_VREFANALOG)                                     \
        - (int32_t) *TEMPSENSOR_CAL1_ADDR)                                         \
	) * (int32_t)(10*TEMPSENSOR_CAL2_TEMP - 10*TEMPSENSOR_CAL1_TEMP)                    \
    ) / (int32_t)((int32_t)*TEMPSENSOR_CAL2_ADDR - (int32_t)*TEMPSENSOR_CAL1_ADDR) \
) + 10*TEMPSENSOR_CAL1_TEMP                                                        \
)

int16_t adc_measure_temp(void)
{
	int32_t value;

	LL_ADC_SetCommonPathInternalCh(__LL_ADC_COMMON_INSTANCE(), LL_ADC_PATH_INTERNAL_VREFINT | LL_ADC_PATH_INTERNAL_TEMPSENSOR);

	const uint8_t mean_nr = 8;
	int32_t reference = 0;
	int32_t in = 0;

	for (int i = 0 ; i < mean_nr ; i++)
	{
		reference += _adc_read(adc_dev, ADC_INPUT_VREF_INT);
		in += _adc_read(adc_dev, ADC_INPUT_TEMP);
	}

	reference /= mean_nr;
	in /= mean_nr;

	LL_ADC_SetCommonPathInternalCh(__LL_ADC_COMMON_INSTANCE(), LL_ADC_PATH_INTERNAL_VREFINT);
	value = calc_temp_x10(vdda_mv(reference), in, LL_ADC_RESOLUTION_12B);
	LOG_DBG("adc_measure_temp:%"PRId32".%"PRId32" °C", value/10, value%10 > 0 ? value%10 : -value%10);
	return value;
}

uint16_t adc_measure_sensor(uint32_t sensor)
{
	switch (sensor)
	{
		case 0:
			return adc_measure_sensor0();
		break;
		case 1:
			return adc_measure_sensor1();
		break;
		default:
		return UINT16_MAX;
	}
}

void adc_init(void)
{
	adc_dev = device_get_binding(DT_ADC_1_NAME);
	stm32_setup_pins(pinconf, ARRAY_SIZE(pinconf));

	/*
	 * workaround : cpu board v0.1..v0.2
	 * prevent vbat flowing trough PC0, by tying PA8 to GND
	 *
	 * This will consume some uA if R100 is not removed
	 */
	struct device *pin = device_get_binding(DT_GPIO_STM32_GPIOA_LABEL);
	gpio_pin_configure(pin, 8, (GPIO_DIR_OUT));
	gpio_pin_write(pin, 8, 0);

	for (size_t i = 0; i < ARRAY_SIZE(channel_cfg); i++)
	{
		adc_channel_setup(adc_dev, &channel_cfg[i]);
	}

	uint16_t vdda = vdda_mv(_adc_read(adc_dev, ADC_INPUT_VREF_INT));
	LOG_INF("VREFINT_DATA=%"PRIu16", VDDA=%"PRIu16, *VREFINT_CAL_ADDR, vdda);
}

void adc_test(void)
{
	uint16_t vdda = vdda_mv(_adc_read(adc_dev, ADC_INPUT_VREF_INT));
	LOG_INF("VDDA=%"PRIu16"\n", vdda);
	LOG_INF("adc_measure_vbat():%"PRIu16" mV", adc_measure_vbat());
	LOG_INF("adc_measure_charger():%"PRIu16" mV", adc_measure_charger());
	LOG_INF("adc_measure_sensor0():%"PRIu16" mV", adc_measure_sensor0());
	LOG_INF("adc_measure_sensor1():%"PRIu16" mV", adc_measure_sensor1());
	int16_t value = adc_measure_temp();
	LOG_INF("adc_measure_temp():%"PRId16".%"PRId16" °C", value/10, value%10 > 0 ? value%10 : -value%10);
}
```

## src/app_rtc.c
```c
#include <zephyr.h>
#include <misc/printk.h>
#include <counter.h>
#include <time.h>

#include <logging/log.h>
LOG_MODULE_REGISTER(rtc, LOG_LEVEL_DBG);

#include "app_rtc.h"
#include "saved_config.h"
#include "global.h"

static struct device *rtc;

int app_rtc_init(void)
{
	char buf[40];
	int ok;
	rtc = device_get_binding(DT_RTC_0_NAME);

	ok = app_rtc_ok();

	time_t now = app_rtc_get();
	ctime_r(&now, buf);

	if (ok)
	{
		LOG_INF("Sytem date:%s", log_strdup(&buf[0]));
	}
	else
	{
		LOG_ERR("Wrong sytem date:%s", log_strdup(&buf[0]));
	}

	return !ok;
}

int app_rtc_ok(void)
{
	time_t now = app_rtc_get();
	struct tm tm;
	gmtime_r(&now, &tm);

	if (tm.tm_year + 1900 < 2019)
	{
		return 0;
	}

	return 1;
}

uint32_t app_rtc_get(void)
{
	return counter_read(rtc) + global.config.rtc_offset;
}

void app_rtc_set(uint32_t now)
{
	uint32_t offset = now-counter_read(rtc);
	uint32_t delta = offset - global.config.rtc_offset;
	LOG_DBG("now = %"PRIu32, now);
	LOG_DBG("offset = %"PRId32, offset);
	LOG_INF("delta = %"PRId32, delta);

	if ((delta > 60) && (delta < UINT32_MAX - 60))
	{
		LOG_INF("delta > 60 !!!!");
		global.rtc_reset = 1;
	}

	global.config.rtc_offset = offset;
	saved_config_save(&global.config);
}
```
